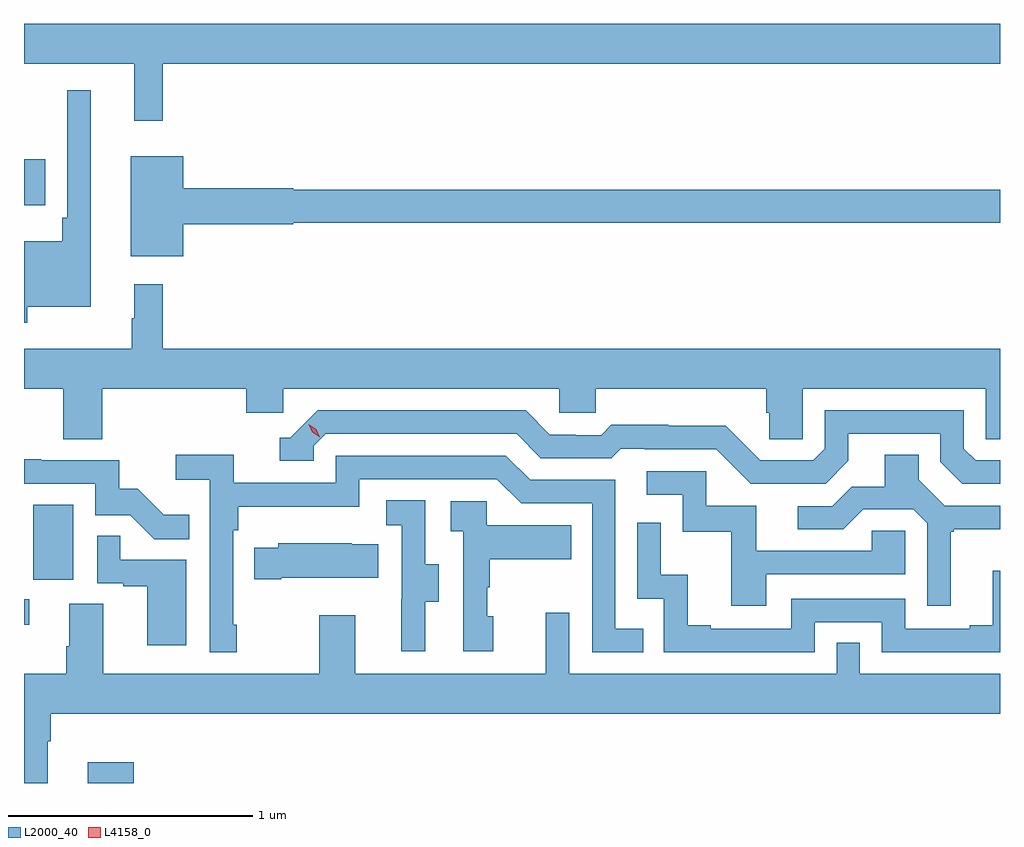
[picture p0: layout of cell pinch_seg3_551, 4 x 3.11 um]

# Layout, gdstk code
import gdstk
lib = gdstk.Library(unit=1e-6, precision=1e-09)
def R(c, l, rs):  # rectangles x0, y0, x1, y1
    for r in rs: c.add(gdstk.rectangle(r[:2], r[2:], *l))
def P(c, l, *ps):  # polygons
    for p in ps: c.add(gdstk.Polygon(p, *l))
L2000_40 = (2000, 40)
L4158_0 = (4158, 0)

pinch_seg3_551 = lib.new_cell('pinch_seg3_551')
R(pinch_seg3_551, L2000_40, [(1112.817,688.643,1113.005,688.729), (1112.556,689.292,1112.578,689.397), (1112.594,689.478,1112.758,689.785), (1112.556,691.013,1112.644,691.201)])
P(pinch_seg3_551, L2000_40, [(1113.125,691.592),(1116.556,691.592),(1116.556,691.756),(1112.556,691.756),(1112.556,691.592),(1113.008,691.592),(1113.008,691.359),(1113.125,691.359)],
  [(1112.569,690.596),(1112.83,690.596),(1112.83,691.483),(1112.733,691.483),(1112.733,690.961),(1112.713,690.961),(1112.713,690.865),(1112.556,690.865),(1112.556,690.531),(1112.569,690.531)],
  [(1113.208,690.935),(1113.66,690.935),(1113.66,690.94),(1116.556,690.94),(1116.556,691.076),(1113.66,691.076),(1113.66,691.082),(1113.208,691.082),(1113.208,691.213),(1112.993,691.213),(1112.993,690.803),(1113.208,690.803)],
  [(1112.876,690.26),(1113.467,690.26),(1113.467,690.162),(1113.618,690.162),(1113.618,690.26),(1114.749,690.26),(1114.749,690.162),(1114.899,690.162),(1114.899,690.26),(1115.597,690.26),(1115.597,690.162),(1115.611,690.162),(1115.611,690.052),(1115.748,690.052),(1115.748,690.26),(1116.498,690.26),(1116.498,690.052),(1116.556,690.052),(1116.556,690.424),(1113.125,690.424),(1113.125,690.688),(1113.008,690.688),(1113.008,690.548),(1112.997,690.548),(1112.997,690.424),(1112.556,690.424),(1112.556,690.26),(1112.716,690.26),(1112.716,690.052),(1112.876,690.052)],
  [(1115.935,689.965),(1115.935,690.075),(1116.312,690.075),(1116.312,689.961),(1116.402,689.871),(1116.556,689.871),(1116.556,689.967),(1116.456,689.967),(1116.408,690.015),(1116.408,690.171),(1115.838,690.171),(1115.838,690.015),(1115.79,689.967),(1115.574,689.967),(1115.432,690.109),(1115.196,690.109),(1115.196,690.112),(1114.963,690.112),(1114.921,690.069),(1114.818,690.069),(1114.818,690.072),(1114.711,690.072),(1114.612,690.171),(1113.759,690.171),(1113.648,690.06),(1113.605,690.06),(1113.605,689.964),(1113.744,689.964),(1113.744,690.027),(1113.792,690.075),(1114.575,690.075),(1114.674,689.976),(1114.963,689.976),(1115.002,690.015),(1115.101,690.015),(1115.101,690.012),(1115.394,690.012),(1115.535,689.871),(1115.841,689.871)],
  [(1116.355,689.673),(1116.367,689.673),(1116.367,689.684),(1116.556,689.684),(1116.556,689.781),(1116.33,689.781),(1116.223,689.888),(1116.223,689.99),(1116.083,689.99),(1116.083,689.858),(1115.948,689.858),(1115.868,689.778),(1115.727,689.778),(1115.727,689.685),(1115.914,689.685),(1115.995,689.766),(1116.201,689.766),(1116.258,689.709),(1116.258,689.37),(1116.355,689.37)],
  [(1113.427,689.293),(1113.414,689.293),(1113.414,689.681),(1113.434,689.681),(1113.434,689.777),(1113.93,689.777),(1113.93,689.889),(1114.494,689.889),(1114.593,689.79),(1114.884,689.79),(1114.884,689.181),(1115.093,689.181),(1115.093,689.277),(1114.98,689.277),(1114.98,689.886),(1114.63,689.886),(1114.531,689.985),(1113.834,689.985),(1113.834,689.874),(1113.416,689.874),(1113.416,689.99),(1113.177,689.99),(1113.177,689.888),(1113.318,689.888),(1113.318,689.181),(1113.427,689.181)],
  [(1113.233,689.743),(1113.129,689.743),(1113.022,689.85),(1112.946,689.85),(1112.946,689.967),(1112.627,689.967),(1112.627,689.972),(1112.556,689.972),(1112.556,689.871),(1112.847,689.871),(1112.847,689.742),(1112.991,689.742),(1113.089,689.644),(1113.233,689.644)],
  [(1115.599,689.499),(1116.168,689.499),(1116.168,689.679),(1116.031,689.679),(1116.031,689.595),(1115.557,689.595),(1115.557,689.781),(1115.352,689.781),(1115.352,689.922),(1115.109,689.922),(1115.109,689.826),(1115.256,689.826),(1115.256,689.673),(1115.455,689.673),(1115.455,689.37),(1115.599,689.37)],
  [(1114.201,689.386),(1114.255,689.386),(1114.255,689.541),(1114.2,689.541),(1114.2,689.804),(1114.041,689.804),(1114.041,689.701),(1114.104,689.701),(1114.104,689.397),(1114.103,689.397),(1114.103,689.184),(1114.201,689.184)],
  [(1114.48,689.328),(1114.455,689.328),(1114.455,689.447),(1114.465,689.447),(1114.465,689.561),(1114.799,689.561),(1114.799,689.701),(1114.452,689.701),(1114.452,689.799),(1114.305,689.799),(1114.305,689.675),(1114.356,689.675),(1114.356,689.184),(1114.48,689.184)],
  [(1115.796,689.304),(1116.072,689.304),(1116.072,689.181),(1116.556,689.181),(1116.556,689.515),(1116.527,689.515),(1116.527,689.29),(1116.431,689.29),(1116.431,689.277),(1116.168,689.277),(1116.168,689.4),(1115.7,689.4),(1115.7,689.277),(1115.371,689.277),(1115.371,689.29),(1115.276,689.29),(1115.276,689.498),(1115.166,689.498),(1115.166,689.71),(1115.07,689.71),(1115.07,689.4),(1115.178,689.4),(1115.178,689.181),(1115.796,689.181)],
  [(1113.22,689.559),(1112.951,689.559),(1112.951,689.657),(1112.856,689.657),(1112.856,689.463),(1112.963,689.463),(1112.963,689.451),(1113.062,689.451),(1113.062,689.208),(1113.22,689.208)],
  [(1113.61,689.486),(1114.007,689.486),(1114.007,689.623),(1113.899,689.623),(1113.899,689.626),(1113.597,689.626),(1113.597,689.608),(1113.499,689.608),(1113.499,689.479),(1113.61,689.479)],
  [(1112.653,688.816),(1112.666,688.816),(1112.666,688.928),(1116.556,688.928),(1116.556,689.092),(1115.982,689.092),(1115.982,689.219),(1115.886,689.219),(1115.886,689.092),(1114.791,689.092),(1114.791,689.341),(1114.694,689.341),(1114.694,689.092),(1113.913,689.092),(1113.913,689.332),(1113.766,689.332),(1113.766,689.092),(1112.881,689.092),(1112.881,689.378),(1112.741,689.378),(1112.741,689.204),(1112.729,689.204),(1112.729,689.092),(1112.556,689.092),(1112.556,688.643),(1112.653,688.643)])
P(pinch_seg3_551, L4158_0, [(1113.768,690.062),(1113.738,690.081),(1113.722,690.114),(1113.722,690.114),(1113.722,690.114),(1113.753,690.094),(1113.769,690.062),(1113.769,690.062)])

lib.write_gds('pinch_seg3_551.gds')
